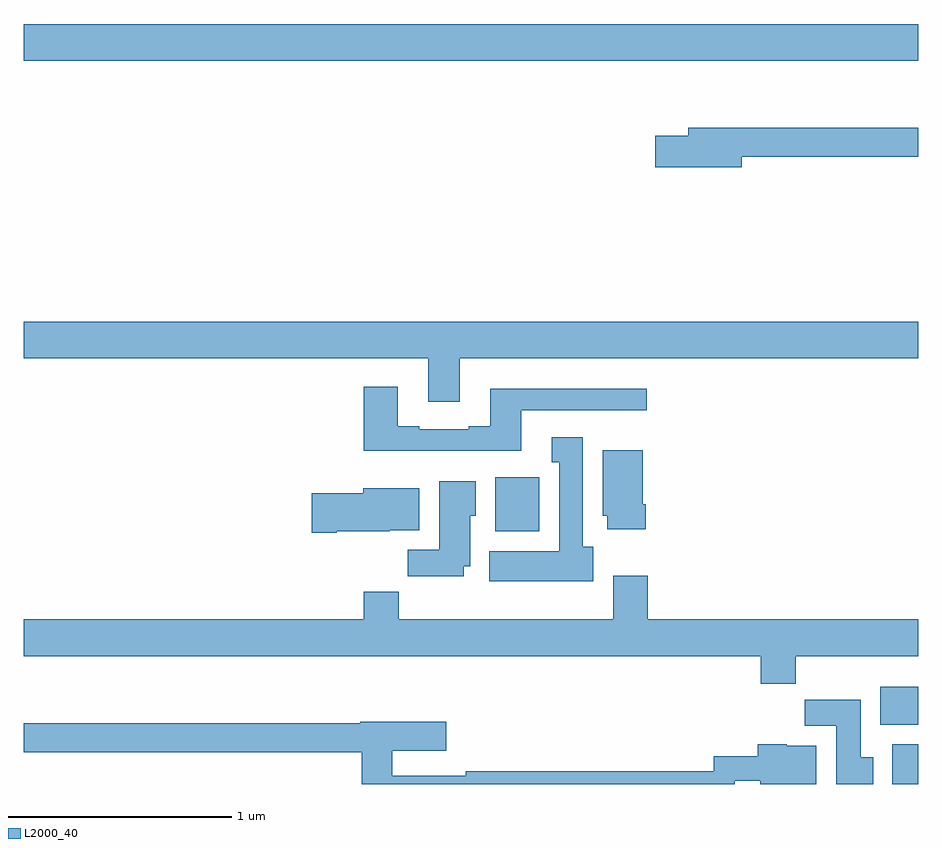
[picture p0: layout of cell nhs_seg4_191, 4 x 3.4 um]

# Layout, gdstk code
import gdstk
lib = gdstk.Library(unit=1e-6, precision=1e-09)
def R(c, l, rs):  # rectangles x0, y0, x1, y1
    for r in rs: c.add(gdstk.rectangle(r[:2], r[2:], *l))
def P(c, l, *ps):  # polygons
    for p in ps: c.add(gdstk.Polygon(p, *l))
L2000_40 = (2000, 40)

nhs_seg4_191 = lib.new_cell('nhs_seg4_191')
R(nhs_seg4_191, L2000_40, [(122.885,810.9,123,811.078), (122.831,811.166,123,811.336), (121.109,812.03,121.306,812.272), (119,814.136,123,814.3)])
P(nhs_seg4_191, L2000_40, [(122.212,813.706),(123,813.706),(123,813.835),(121.973,813.835),(121.973,813.801),(121.824,813.801),(121.824,813.659),(122.212,813.659)],
  [(120.949,812.804),(123,812.804),(123,812.968),(119,812.968),(119,812.804),(120.809,812.804),(120.809,812.61),(120.949,812.61)],
  [(121.225,812.571),(121.786,812.571),(121.786,812.668),(121.085,812.668),(121.085,812.5),(120.989,812.5),(120.989,812.487),(120.769,812.487),(120.769,812.5),(120.673,812.5),(120.673,812.677),(120.521,812.677),(120.521,812.39),(121.225,812.39)],
  [(121.546,811.962),(121.501,811.962),(121.501,812.452),(121.361,812.452),(121.361,812.339),(121.394,812.339),(121.394,811.942),(121.082,811.942),(121.082,811.808),(121.546,811.808)],
  [(121.781,812.152),(121.768,812.152),(121.768,812.392),(121.589,812.392),(121.589,812.1),(121.61,812.1),(121.61,812.04),(121.781,812.04)],
  [(120.967,811.874),(120.997,811.874),(120.997,812.1),(121.021,812.1),(121.021,812.254),(120.857,812.254),(120.857,811.948),(120.718,811.948),(120.718,811.83),(120.967,811.83)],
  [(120.4,812.03),(120.636,812.03),(120.636,812.036),(120.769,812.036),(120.769,812.224),(120.518,812.224),(120.518,812.201),(120.288,812.201),(120.288,812.023),(120.4,812.023)],
  [(122.453,811.472),(123,811.472),(123,811.636),(121.79,811.636),(121.79,811.831),(121.637,811.831),(121.637,811.636),(120.677,811.636),(120.677,811.76),(120.521,811.76),(120.521,811.636),(119,811.636),(119,811.472),(122.297,811.472),(122.297,811.348),(122.453,811.348)],
  [(122.8,811.02),(122.743,811.02),(122.743,811.278),(122.494,811.278),(122.494,811.16),(122.633,811.16),(122.633,810.9),(122.8,810.9)],
  [(122.181,810.914),(122.294,810.914),(122.294,810.9),(122.545,810.9),(122.545,811.072),(122.412,811.072),(122.412,811.078),(122.282,811.078),(122.282,811.024),(122.085,811.024),(122.085,810.956),(120.976,810.956),(120.976,810.936),(120.647,810.936),(120.647,811.049),(120.889,811.049),(120.889,811.179),(120.504,811.179),(120.504,811.171),(119,811.171),(119,811.042),(120.511,811.042),(120.511,810.9),(122.181,810.9)])

lib.write_gds('nhs_seg4_191.gds')
